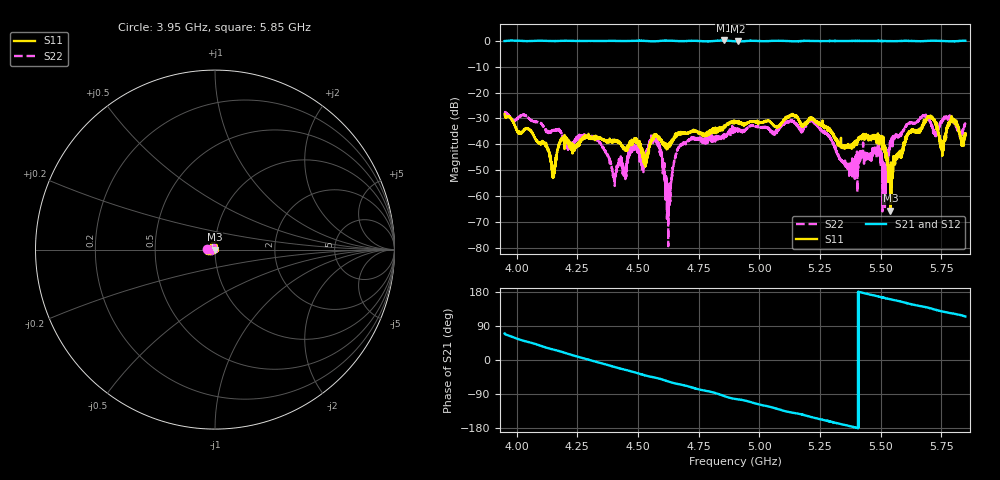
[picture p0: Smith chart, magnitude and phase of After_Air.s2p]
# GHZ S RI R 50.000000000000
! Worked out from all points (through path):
!   4501 points, 3.95 GHz to 5.85 GHz, reference 50 ohm
!   highest |S21| = 0.07 dB at 4.853 GHz (marker M1); lowest = -0.3 dB at 4.912 GHz (marker M2)
!   group delay of S21, straight-line fit = 451 ps
!   lowest |S11| = -65.6 dB at 5.541 GHz (marker M3), VSWR 1.00, Z = 50 + j0.0394 ohm
!   |S11| at or under -10 dB: start of sweep to end of sweep
!   |S22| runs from -79.2 to -27.4 dB; largest |S21 - S12| = 0.05
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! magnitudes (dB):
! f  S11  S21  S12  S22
! 3.95 GHz  -28.3  -0.2  -0.2  -27.4
! 4.15 GHz  -50.1  -0.2  -0.2  -34.7
! 4.187 GHz  -37.5  -0.1  -0.1  -35.9
! 4.267 GHz  -38.0  -0.1  -0.1  -36.8
! 4.403 GHz  -38.2  -0.1  -0.1  -54.5
! 4.53 GHz  -48.5  -0.1  -0.1  -46.2
! 4.584 GHz  -37.3  -0.2  -0.2  -40.2
! 4.625 GHz  -40.6  0.0  0.0  -61.0
! 4.674 GHz  -35.6  -0.2  -0.2  -40.7
! 4.853 GHz  -33.4  0.1  0.1  -36.2
! 4.9 GHz  -31.3  -0.3  -0.2  -33.8
! 4.912 GHz  -31.9  -0.3  -0.3  -33.9
! 5.217 GHz  -30.1  -0.1  -0.1  -31.2
! 5.371 GHz  -41.1  -0.1  -0.1  -52.1
! 5.496 GHz  -37.3  -0.2  -0.1  -43.6
! 5.517 GHz  -42.8  -0.2  -0.1  -53.2
! 5.534 GHz  -51.0  -0.2  -0.1  -43.7
! 5.541 GHz  -65.6  -0.2  -0.1  -39.0
! 5.701 GHz  -29.3  -0.1  -0.1  -30.6
! 5.753 GHz  -42.6  -0.1  -0.1  -30.8
! 5.794 GHz  -30.0  -0.3  -0.3  -29.5
! 5.85 GHz  -35.8  0.0  0.0  -31.7
